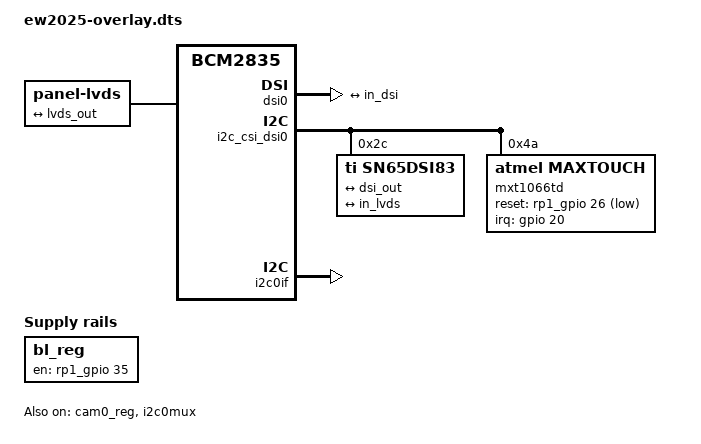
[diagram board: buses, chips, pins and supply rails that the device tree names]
#include <dt-bindings/gpio/gpio.h>
#include <dt-bindings/interrupt-controller/irq.h>

/dts-v1/;
/plugin/;

/ {
	compatible = "brcm,bcm2835";

	fragment@0 {
		target = <&dsi0>;
		__overlay__{
			status = "okay";
			#address-cells = <1>;
			#size-cells = <0>;
			port {
				dsi_out: endpoint {
					remote-endpoint = <&in_dsi>;
				};
			};
		};
	};

    fragment@1 {
        target = <&i2c_csi_dsi0>;
        __overlay__ {
            #address-cells = <1>;
			#size-cells = <0>;
            status = "okay";
            sn65dsi83: bridge@2c {
                compatible = "ti,sn65dsi83";
                reg = <0x2c>;
                /*
                enable-gpios = <&rp1_gpio 34 GPIO_ACTIVE_HIGH>;
                pinctrl-names = "default";
                pinctrl-0 = <&rp1_gpio_34>;
                */

                status = "okay";

                ports {
                    #address-cells = <1>;
                    #size-cells = <0>;
        
                    port@0 {
                        reg = <0>;
        
                        in_dsi: endpoint {
                            remote-endpoint = <&dsi_out>;
                            data-lanes = <1 2 3 4>;
                        };
                    };
        
                    port@2 {
                        reg = <2>;
        
                        lvds_out: endpoint {
                            remote-endpoint = <&in_lvds>;
                        };
                    };
                };
            };
            mxt1066td: touch@4a {
                compatible = "atmel,maxtouch";
                reg = <0x4a>;
                interrupt-parent = <&gpio>;
                interrupts = <20 IRQ_TYPE_EDGE_FALLING>;
                pinctrl-names = "default";
                pinctrl-0 = <&rp1_gpio_20>, <&rp1_gpio_26>;
                reset-gpios = <&rp1_gpio 26 GPIO_ACTIVE_LOW>;
                status = "okay";
            };
        };
    };

    fragment@2 {
        target-path = "/";
        __overlay__ {
            lcd_backlight: lcd-backlight {
                compatible = "gpio-backlight";
                gpios = <&rp1_gpio 35 GPIO_ACTIVE_HIGH>;
                pinctrl-names = "default";
                pinctrl-0 = <&rp1_gpio_35>;
                default-on;
                status = "disabled";
            };
            panel: panel {
                compatible = "panel-lvds";
                width-mm = <217>;
                height-mm = <136>;
                data-mapping = "vesa-24";
                //backlight = <&lcd_backlight>;
                backlight = <0>;
                status = "okay";
        
                panel-timing {
                    clock-frequency = <71100000>;
                    hactive = <1280>;
                    vactive = <800>;
                    hfront-porch = <50>;
                    hsync-len = <60>;
                    hback-porch = <50>;
                    vfront-porch = <7>;
                    vsync-len = <9>;
                    vback-porch = <7>;
                };
        
                port {
                    in_lvds: endpoint {
                        remote-endpoint = <&lvds_out>;
                    };
                };
            };
            bl_reg: bl_reg {
                compatible = "regulator-fixed";
                regulator-name = "bl_reg";
                regulator-always-on;
                enable-active-high;
                gpio = <&rp1_gpio 35 GPIO_ACTIVE_HIGH>;
                pinctrl-names = "default";
                pinctrl-0 = <&rp1_gpio_35>;
                status = "okay";
            };
        };
    };

    fragment@3 {
        target = <&rp1_gpio>;
        __overlay__ {
            rp1_gpio_34: rp1_gpio_34 {
                function = "gpio";
                pins = "gpio34";
            };
            rp1_gpio_35: rp1_gpio_35 {
                function = "gpio";
                pins = "gpio35";
            };
            rp1_gpio_20: rp1_gpio_20 {
                function = "gpio";
                pins = "gpio20";
                bias-pull-up;
            };
            rp1_gpio_26: rp1_gpio_26 {
                function = "gpio";
                pins = "gpio26";
            };
        };
    };

    fragment@4 {
        target = <&cam0_reg>;
        __overlay__ {
            status = "okay";
            regulator-always-on;
        };
    };

	fragment@5 {
		target = <&i2c0if>;
		__overlay__ {
			status = "okay";
		};
	};

	fragment@6 {
		target = <&i2c0mux>;
		__overlay__ {
			status = "okay";
		};
	};

};
